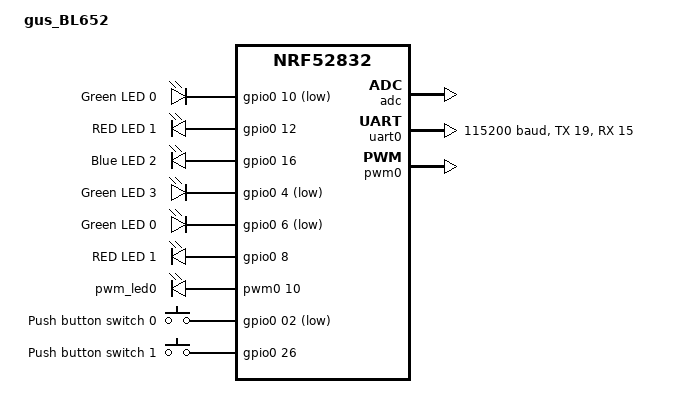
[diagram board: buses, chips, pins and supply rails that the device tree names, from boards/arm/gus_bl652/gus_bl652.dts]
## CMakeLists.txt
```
# SPDX-License-Identifier: Apache-2.0

cmake_minimum_required(VERSION 3.13.1)

find_package(Zephyr REQUIRED HINTS $ENV{ZEPHYR_BASE})
project(NONE)

FILE(GLOB app_sources src/*.c)
target_sources(app PRIVATE ${app_sources})
target_include_directories(app PRIVATE include)
```

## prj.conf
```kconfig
#
# Copyright (c) 2019 Nordic Semiconductor ASA
#
# SPDX-License-Identifier: LicenseRef-Nordic-5-Clause
#
CONFIG_NCS_SAMPLES_DEFAULTS=y

# General configuration
CONFIG_SYSTEM_WORKQUEUE_STACK_SIZE=2048
CONFIG_FLASH=y
CONFIG_FLASH_MAP=y
CONFIG_FCB=y
CONFIG_SETTINGS=y
CONFIG_HWINFO=y
CONFIG_LOG=y
CONFIG_LOG_PRINTK=y

CONFIG_DK_LIBRARY=y
CONFIG_BT_MESH_DK_PROV=y

# Bluetooth configuration
CONFIG_BT=y
CONFIG_BT_COMPANY_ID=0x0059
CONFIG_BT_DEVICE_NAME="GUS Badge"
CONFIG_BT_L2CAP_RX_MTU=69
CONFIG_BT_L2CAP_TX_MTU=69
CONFIG_BT_L2CAP_TX_BUF_COUNT=8
CONFIG_BT_LL_SW_SPLIT=y
CONFIG_BT_OBSERVER=y
CONFIG_BT_PERIPHERAL=y
CONFIG_BT_SETTINGS=y
CONFIG_BT_TINYCRYPT_ECC=y

# Disable unused Bluetooth features
CONFIG_BT_CTLR_DUP_FILTER_LEN=0
CONFIG_BT_CTLR_LE_ENC=n
CONFIG_BT_DATA_LEN_UPDATE=n
CONFIG_BT_PHY_UPDATE=n
CONFIG_BT_CTLR_CHAN_SEL_2=n
CONFIG_BT_CTLR_MIN_USED_CHAN=n
CONFIG_BT_CTLR_PRIVACY=n

# Bluetooth mesh configuration
CONFIG_BT_MESH=y
CONFIG_BT_MESH_RELAY=y
CONFIG_BT_MESH_FRIEND=y
CONFIG_BT_MESH_ADV_BUF_COUNT=13
CONFIG_BT_MESH_TX_SEG_MAX=10
CONFIG_BT_MESH_PB_GATT=y
CONFIG_BT_MESH_GATT_PROXY=y

# Bluetooth mesh models
CONFIG_BT_MESH_LVL_SRV=y
CONFIG_NFCT_PINS_AS_GPIOS=y

CONFIG_BT_CTLR_ADVANCED_FEATURES=y
CONFIG_BT_CTLR_CONN_RSSI=y
CONFIG_BT_CTLR_TX_PWR_DYNAMIC_CONTROL=y
```

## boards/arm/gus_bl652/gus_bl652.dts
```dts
/*
 * Copyright (c) 2019 Laird Connectivity
 *
 * SPDX-License-Identifier: Apache-2.0
 */

/dts-v1/;
#include <nordic/nrf52832_qfaa.dtsi>

/ {
	model = "gus_BL652";
	compatible = "laird,BL652DVK";

	chosen {
		zephyr,console = &uart0;
		zephyr,shell-uart = &uart0;
		zephyr,uart-mcumgr = &uart0;
		zephyr,bt-mon-uart = &uart0;
		zephyr,bt-c2h-uart = &uart0;
		zephyr,sram = &sram0;
		zephyr,flash = &flash0;
		zephyr,code-partition = &slot0_partition;
	};

	leds {
		compatible = "gpio-leds";
		
		led0: led_0 {
			gpios = <&gpio0 10 GPIO_ACTIVE_LOW>;
			label = "Green LED 0";
		};			   
		led1: led_1 {
			gpios = <&gpio0 12 GPIO_ACTIVE_HIGH>;
			label = "RED LED 1";
		};
		led2: led_2 {
			gpios = <&gpio0 16 GPIO_ACTIVE_HIGH>;
			label = "Blue LED 2";
		};
		led3: led_3 {
			gpios = <&gpio0 4 GPIO_ACTIVE_LOW>;
			label = "Green LED 3";
		};	
	
		led4: led_4 {
			gpios = <&gpio0 6 GPIO_ACTIVE_LOW>;
			label = "Green LED 0";
		};			   
		led5: led_5 {
			gpios = <&gpio0 8 GPIO_ACTIVE_HIGH>;
			label = "RED LED 1";
		};
	};

	pwmleds {
		compatible = "pwm-leds";
		pwm_led0: pwm_led_0 {
			pwms = <&pwm0 10>;
		};
	};

	buttons {
		compatible = "gpio-keys";
		button0: button_0 {
			gpios = <&gpio0 02 (GPIO_PULL_UP | GPIO_ACTIVE_LOW)>;
			label = "Push button switch 0";
		};
		button1: button_1 {
			gpios = <&gpio0 26 GPIO_PULL_UP>;
			label = "Push button switch 1";
		};
	};

	/* These aliases are provided for compatibility with samples */
	aliases {
		led0 = &led0;
		led1 = &led1;
		led2 = &led2;
		led3 = &led3;
		led4 = &led4;
		led5 = &led5;
		pwm-led0 = &pwm_led0;
		sw0 = &button0;
		sw1 = &button1;
	};
};

&adc {
	status = "okay";
};

&gpiote {
	status = "okay";
};

&gpio0 {
	status = "okay";
};

&uart0 {
	status = "okay";
	compatible = "nordic,nrf-uart";
	current-speed = <115200>;
	tx-pin = <19>;
	rx-pin = <15>;
	rts-pin = <28>;
	cts-pin = <30>;
};

&pwm0 {
	status = "okay";
	ch0-pin = <17>;
};


&flash0 {

	partitions {
		compatible = "fixed-partitions";
		#address-cells = <1>;
		#size-cells = <1>;

		boot_partition: partition@0 {
			label = "mcuboot";
			reg = <0x00000000 0xc000>;
		};
		slot0_partition: partition@c000 {
			label = "image-0";
			reg = <0x0000C000 0x32000>;
		};
		slot1_partition: partition@3e000 {
			label = "image-1";
			reg = <0x0003E000 0x32000>;
		};
		scratch_partition: partition@70000 {
			label = "image-scratch";
			reg = <0x00070000 0xa000>;
		};
		storage_partition: partition@7a000 {
			label = "storage";
			reg = <0x0007a000 0x00006000>;
		};
	};
};
```

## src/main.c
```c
/*
 * Copyright (c) 2019 Nordic Semiconductor ASA
 *
 * SPDX-License-Identifier: LicenseRef-Nordic-5-Clause
 */

/** @file
 *  @brief Nordic mesh light sample
 */
#include <bluetooth/bluetooth.h>
#include <bluetooth/mesh/models.h>
#include <bluetooth/mesh/dk_prov.h>
#include <dk_buttons_and_leds.h>
#include "gus_model_handler.h"
#include "tx_power.h"
#include "gus_leds.h"
#include <bluetooth/hci_vs.h>

static void bt_ready(int err)
{
    if (err)
    {
        printk("Bluetooth init failed (err %d)\n", err);
        return;
    }

    printk("Bluetooth initialized\n");

    gus_leds_init();
    dk_buttons_init(NULL);

    err = bt_mesh_init(bt_mesh_dk_prov_init(), gus_model_handler_init());
    if (err)
    {
        printk("Initializing mesh failed (err %d)\n", err);
        return;
    }

    if (IS_ENABLED(CONFIG_SETTINGS))
    {

        settings_load();
    }

    /* This will be a no-op if settings_load() loaded provisioning info */
    bt_mesh_prov_enable(BT_MESH_PROV_ADV | BT_MESH_PROV_GATT);

    printk("Mesh initialized\n");
}

void main(void)
{
    int err;

    printk("Initializing....\n");

    err = bt_enable(bt_ready);
    if (err)
    {
        printk("Bluetooth init failed (err %d)\n", err);
    }

    while (1)
    {
        // manage blinking of LEDs in idle loop
        k_sleep(K_MSEC(100));
        if (get_blinker() >= 0)
        {
            uint16_t ledbit = dec_blinker() % 6;
            gus_set_leds(0x01 << ledbit);
        }
    }
}
```

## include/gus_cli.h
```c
/*
 * Copyright (c) 2020 Nordic Semiconductor ASA
 *
 * SPDX-License-Identifier: LicenseRef-Nordic-5-Clause
 */

/**
 * @file
 * @defgroup bt_mesh_gus_cli
 * @{
 * @brief API for the Bluetooth Mesh Gus Client model.
 */

#ifndef BT_MESH_GUS_CLI_H__
#define BT_MESH_GUS_CLI_H__

#include <bluetooth/mesh.h>
#include <bluetooth/mesh/model_types.h>

#ifdef __cplusplus
extern "C" {
#endif

#define CONFIG_BT_MESH_GUS_NAME_LENGTH 16

/* .. include_startingpoint_gus_cli_rst_1 */
/** Company ID of the Bluetooth Mesh Gus Client model. */
#define BT_MESH_GUS_CLI_VENDOR_COMPANY_ID    0xFFFF  // not a real company

/** Model ID of the Bluetooth Mesh Gus Client model. */
#define BT_MESH_GUS_CLI_VENDOR_MODEL_ID      0x0042 // answer to life, universe & everything

/** Sign in opcode. */
#define BT_MESH_GUS_CLI_OP_SIGN_IN BT_MESH_MODEL_OP_3(0x04, \
				       BT_MESH_GUS_CLI_VENDOR_COMPANY_ID)

/** Sign in reply opcode. */
#define BT_MESH_GUS_CLI_OP_SIGN_IN_REPLY BT_MESH_MODEL_OP_3(0x05, \
				       BT_MESH_GUS_CLI_VENDOR_COMPANY_ID)

/** Set State opcode. */
#define BT_MESH_GUS_CLI_OP_SET_STATE BT_MESH_MODEL_OP_3(0x06, \
				       BT_MESH_GUS_CLI_VENDOR_COMPANY_ID)

/** Set name opcode. */
#define BT_MESH_GUS_CLI_OP_SET_NAME BT_MESH_MODEL_OP_3(0x07, \
				       BT_MESH_GUS_CLI_VENDOR_COMPANY_ID)

/**  Report opcode. */
#define BT_MESH_GUS_CLI_OP_REPORT BT_MESH_MODEL_OP_3(0x08, \
				       BT_MESH_GUS_CLI_VENDOR_COMPANY_ID)

/** Report reply opcode. */
#define BT_MESH_GUS_CLI_OP_REPORT_REPLY BT_MESH_MODEL_OP_3(0x09, \
				       BT_MESH_GUS_CLI_VENDOR_COMPANY_ID)

/** Check proximity opcode. */
#define BT_MESH_GUS_CLI_OP_CHECK_PROXIMITY BT_MESH_MODEL_OP_3(0x0A, \
				       BT_MESH_GUS_CLI_VENDOR_COMPANY_ID)

#define NUM_PROXIMITY_REPORTS 6
struct gus_report_data {
    uint16_t addr;
    int8_t rssi;
    }; 


#define BT_MESH_GUS_CLI_MSG_MINLEN_MESSAGE 1
#define BT_MESH_GUS_CLI_MSG_MAXLEN_MESSAGE (\
				     CONFIG_BT_MESH_GUS_NAME_LENGTH \
				     + 1) /* + \0 */
#define BT_MESH_GUS_CLI_MSG_LEN_SIGN_IN_REPLY (CONFIG_BT_MESH_GUS_NAME_LENGTH+1)
#define BT_MESH_GUS_CLI_MSG_LEN_SET_STATE 1
#define BT_MESH_GUS_CLI_MSG_LEN_REPORT_REPLY (NUM_PROXIMITY_REPORTS*sizeof(struct gus_report_data)+1)
#define BT_MESH_GUS_CLI_MSG_LEN_REQUEST 0


/** Bluetooth Mesh Gus Client state values. */
enum bt_mesh_gus_cli_state {
	BT_MESH_GUS_CLI_IDENTIFY,
	BT_MESH_GUS_CLI_HEALTHY,
	BT_MESH_GUS_CLI_INFECTED,
	BT_MESH_GUS_CLI_MASKED,
	BT_MESH_GUS_CLI_MASKED_INFECTED,
	BT_MESH_GUS_CLI_VACCINATED,
	BT_MESH_GUS_CLI_VACCINATED_INFECTED,
	BT_MESH_GUS_CLI_VACCINATED_MASKED,
	BT_MESH_GUS_CLI_VACCINATED_MASKED_INFECTED,	
        BT_MESH_GUS_CLI_OFF,
};

/* Forward declaration of the Bluetooth Mesh Gus Client model context. */
struct bt_mesh_gus_cli;

/* .. include_startingpoint_gus_cli_rst_2 */
/** @def BT_MESH_MODEL_GUS_CLI
 *
 * @brief Bluetooth Mesh Gus Client model composition data entry.
 *
 * @param[in] _gus Pointer to a @ref bt_mesh_gus_cli instance.
 */
#define BT_MESH_MODEL_GUS_CLI(_gus)                               \
		BT_MESH_MODEL_VND_CB(BT_MESH_GUS_CLI_VENDOR_COMPANY_ID,   \
			BT_MESH_GUS_CLI_VENDOR_MODEL_ID,                      \
			_bt_mesh_gus_cli_op, &(_gus)->pub,                    \
			BT_MESH_MODEL_USER_DATA(struct bt_mesh_gus_cli,       \
						_gus),                        \
			&_bt_mesh_gus_cli_cb)
/* .. include_endpoint_gus_cli_rst_2 */

/** Bluetooth Mesh Gus Client model handlers. */
struct bt_mesh_gus_cli_handlers {
	/** @brief Called after the node has been provisioned, or after all
	 * mesh data has been loaded from persistent storage.
	 *
	 * @param[in] cli Gus Client instance that has been started.
	 */
	void (*const start)(struct bt_mesh_gus_cli *gus);

	/** @brief Handler for a sign in message.
	 *
	 * @param[in] cli Gus client instance that received the text message.
	 * @param[in] ctx Context of the incoming message.
	 * @param[in] addr address of sender.
	 */
	void (*const sign_in)(struct bt_mesh_gus_cli *gus,
			       struct bt_mesh_msg_ctx *ctx,
                               uint16_t addr);

	/** @brief Handler for a sign in reply.
	 *
	 * @param[in] cli Gus client instance that received the reply.
	 * @param[in] ctx Context of the incoming message.
	 * @param[in] msg Pointer to a name terminated with
	 * a null character, '\0'.
	 */
	void (*const sign_in_reply)(struct bt_mesh_gus_cli *gus,
				    struct bt_mesh_msg_ctx *ctx,
				      const uint8_t *msg);

	/** @brief Handler for a set state message.
	 *
	 * @param[in] cli gus client instance that received the text message.
	 * @param[in] ctx Context of the incoming message.
	 * @param[in] state of a Gus Client
	 * the message.
	 */
	void (*const set_state)(struct bt_mesh_gus_cli *gus,
			       struct bt_mesh_msg_ctx *ctx,
			       enum bt_mesh_gus_cli_state state);

	/** @brief Handler for a set name message.
	 *
	 * @param[in] cli Gus client that received the text message.
	 * @param[in] ctx Context of the incoming message.
	 * @param[in] msg Pointer to a received name terminated with
	 * a null character, '\0'.
	 */
	void (*const set_name)(struct bt_mesh_gus_cli *gus,
				      struct bt_mesh_msg_ctx *ctx,
				      const uint8_t *msg);

	/** @brief Handler for a report request.
	 *
	 * @param[in] cli Gus client instance that received the text message.
	 * @param[in] ctx Context of the incoming message.
	 */
	void (*const report_request)(struct bt_mesh_gus_cli *gus,
			       struct bt_mesh_msg_ctx *ctx);

	/** @brief Handler for a reply on a report request.
	 *
	 * @param[in] cli Gus client instance that received the reply.
	 * @param[in] ctx Context of the incoming message.
	 * @param[in] msg Pointer to a proximity report structure
	 * a null character, '\0'.	 */
	void (*const report_reply)(struct bt_mesh_gus_cli *gus,
				    struct bt_mesh_msg_ctx *ctx,
				      const uint8_t *msg);

	/** @brief Handler for a check proximity message.
	 *
	 * @param[in] cli Gus client instance that received the text message.
	 * @param[in] ctx Context of the incoming message.
	 * @param[in] addr address of sender.
	 */
	void (*const check_proximity)(struct bt_mesh_gus_cli *gus,
			       struct bt_mesh_msg_ctx *ctx,
                               uint16_t addr);


};


/**
 * Bluetooth Mesh Gus Client model context.
 */
struct bt_mesh_gus_cli {
	/** Access model pointer. */
	struct bt_mesh_model *model;
	/** Publish parameters. */
	struct bt_mesh_model_pub pub;
	/** Publication message. */
	struct net_buf_simple pub_msg;
	/** badge name. */
	uint8_t buf[BT_MESH_MODEL_BUF_LEN(BT_MESH_GUS_CLI_OP_SET_NAME,
					  BT_MESH_GUS_CLI_MSG_MAXLEN_MESSAGE)];
        uint8_t name[CONFIG_BT_MESH_GUS_NAME_LENGTH+1];
	/** Handler function structure. */
	const struct bt_mesh_gus_cli_handlers *handlers;
	/** Current Presence value. */
	enum bt_mesh_gus_cli_state state;
};






/** @brief Publish the sign in request to the mesh network.
 *
 * @param[in] gus     Gus Client model instance to sign into.
 *
 * @retval 0 Successfully set the preceive and sent the message.
 * @retval -EADDRNOTAVAIL Publishing is not configured.
 * @retval -EAGAIN The device has not been provisioned.
 */
int bt_mesh_gus_cli_sign_in(struct bt_mesh_gus_cli *gus);

/** @brief Send a reply for the sign in request to the mesh network.
 *
 * @param[in] gus     Gus Client model instance to sign into.
 * @param[in] name Pointer to a name. Must be terminated with
 * a null character, '\0'.
 *
 * @retval 0 Successfully set the preceive and sent the message.
 * @retval -EADDRNOTAVAIL Publishing is not configured.
 * @retval -EAGAIN The device has not been provisioned.
 */
int bt_mesh_gus_cli_sign_in_reply(struct bt_mesh_gus_cli *gus, 
                                    struct bt_mesh_msg_ctx *ctx, 
                                    const uint8_t * name);
/** @brief Set the client state.
 *
 * @param[in] gus     Gus Client model instance to set presence on.
 * @param[in] addr    Address of the gus client to set the state of.
 * @param[in] state   New client state.
 *
 * @retval 0 Successfully set the preceive and sent the message.
 * @retval -EADDRNOTAVAIL Publishing is not configured.
 * @retval -EAGAIN The device has not been provisioned.
 */
int bt_mesh_gus_cli_state_set(struct bt_mesh_gus_cli *gus,
				  uint16_t addr,
				  enum bt_mesh_gus_cli_state state);

/** @brief Set the client name.
 *
 * @param[in] cli Gus Client model instance.
 * @param[in] addr    Address of the gus client to set the state of.
 * @param[in] name Pointer to a name. Must be terminated with
 * a null character, '\0'.
 *
 * @retval 0 Successfully sent the message.
 * @retval -EADDRNOTAVAIL Publishing is not configured.
 * @retval -EAGAIN The device has not been provisioned.
 */
int bt_mesh_gus_cli_name_set(struct bt_mesh_gus_cli *gus,
				  uint16_t addr,
				  const uint8_t *name);

/** @brief Request a proximity report.
 *
 * @param[in] gus     Gus Client model instance to sign into.
 * @param[in] addr    Address of the gus client.
 *
 * @retval 0 Successfully set the preceive and sent the message.
 * @retval -EADDRNOTAVAIL Publishing is not configured.
 * @retval -EAGAIN The device has not been provisioned.
 */
int bt_mesh_gus_cli_report_request(struct bt_mesh_gus_cli *gus,
				  uint16_t addr);

/** @brief Proximity report reply.
 *
 * @param[in] gus     Gus Client model instance to sign into.
 * @param[in] report Pointer array of bytes containing report
 *
 * @retval 0 Successfully set the preceive and sent the message.
 * @retval -EADDRNOTAVAIL Publishing is not configured.
 * @retval -EAGAIN The device has not been provisioned.
 */
int bt_mesh_gus_cli_report_reply(struct bt_mesh_gus_cli *gus,
				  struct bt_mesh_msg_ctx *ctx, 
				  const uint8_t *report);

/** @brief Check Proximity.
 *
 * @param[in] gus     Gus Client model instance to sign into.
 *
 * @retval 0 Successfully set the preceive and sent the message.
 * @retval -EADDRNOTAVAIL Publishing is not configured.
 * @retval -EAGAIN The device has not been provisioned.
 */
int bt_mesh_gus_cli_check_proximity(struct bt_mesh_gus_cli *gus);

/** @cond INTERNAL_HIDDEN */
extern const struct bt_mesh_model_op _bt_mesh_gus_cli_op[];
extern const struct bt_mesh_model_cb _bt_mesh_gus_cli_cb;
/** @endcond */

#ifdef __cplusplus
}
#endif

#endif /* BT_MESH_GUS_CLI_H__ */

/** @} */
```

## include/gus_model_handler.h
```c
/*
 * Copyright (c) 2019 Nordic Semiconductor ASA
 *
 * SPDX-License-Identifier: LicenseRef-Nordic-5-Clause
 */

/**
 * @file
 * @brief Gus Model handler
 */

#ifndef GUS_MODEL_HANDLER_H__
#define GUS_MODEL_HANDLER_H__

#include <bluetooth/mesh.h>

#ifdef __cplusplus
extern "C" {
#endif

const struct bt_mesh_comp *gus_model_handler_init(void);
int get_blinker(void);
int dec_blinker(void);

#ifdef __cplusplus
}
#endif

#endif /* GUS_MODEL_HANDLER_H__ */
```

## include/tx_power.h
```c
/*
 * Copyright (c) 2019 Nordic Semiconductor ASA
 *
 * SPDX-License-Identifier: LicenseRef-Nordic-5-Clause
 */

/**
 * @file
 * @brief Gus Model handler
 */

#ifndef TX_POWER_H__
#define TX_POWER_H__

#ifdef __cplusplus
extern "C" {
#endif

void set_tx_power(uint8_t handle_type, uint16_t handle, int8_t tx_pwr_lvl);

#ifdef __cplusplus
}
#endif

#endif /* GUS_MODEL_HANDLER_H__ */
```

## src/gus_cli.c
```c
/*
 * Copyright (c) 2019 Nordic Semiconductor ASA
 *
 * SPDX-License-Identifier: LicenseRef-Nordic-5-Clause
 */

#include <bluetooth/mesh.h>
#include "gus_cli.h"
#include "mesh/net.h"
#include "mesh/transport.h"
#include <string.h>
#include <logging/log.h>
#include <drivers/gpio.h>

LOG_MODULE_DECLARE(gus);

BUILD_ASSERT(BT_MESH_MODEL_BUF_LEN(BT_MESH_GUS_CLI_OP_SET_NAME,
				   CONFIG_BT_MESH_GUS_NAME_LENGTH) <=
		    BT_MESH_RX_SDU_MAX,
	     "The message must fit inside an application SDU.");
BUILD_ASSERT(BT_MESH_MODEL_BUF_LEN(BT_MESH_GUS_CLI_OP_SET_NAME,
				   CONFIG_BT_MESH_GUS_NAME_LENGTH) <=
		    BT_MESH_TX_SDU_MAX,
	     "The message must fit inside an application SDU.");
BUILD_ASSERT(BT_MESH_MODEL_BUF_LEN(BT_MESH_GUS_CLI_OP_REPORT_REPLY,
				   BT_MESH_GUS_CLI_MSG_LEN_REPORT_REPLY) <=
		    BT_MESH_RX_SDU_MAX,
	     "The report reply message must fit inside an application SDU.");
BUILD_ASSERT(BT_MESH_MODEL_BUF_LEN(BT_MESH_GUS_CLI_OP_REPORT_REPLY,
				   BT_MESH_GUS_CLI_MSG_LEN_REPORT_REPLY) <=
		    BT_MESH_TX_SDU_MAX,
	     "The report reply message must fit inside an application SDU.");


static const uint8_t *extract_name(struct net_buf_simple *buf)
{
	buf->data[buf->len - 1] = '\0';
	return net_buf_simple_pull_mem(buf, buf->len);
}


////////////////////
// message handlers
///////////////////

static void handle_sign_in(struct bt_mesh_model *model,
				 struct bt_mesh_msg_ctx *ctx,
				 struct net_buf_simple *buf)
{

	struct bt_mesh_gus_cli *gus = model->user_data;

        uint16_t addr = bt_mesh_model_elem(model)->addr;
	if (gus->handlers->sign_in) {
		gus->handlers->sign_in(gus, ctx, addr);
	}
}

static void handle_sign_in_reply(struct bt_mesh_model *model,
			   struct bt_mesh_msg_ctx *ctx,
			   struct net_buf_simple *buf)
{
	struct bt_mesh_gus_cli *gus = model->user_data;
	const uint8_t *name;

	name = extract_name(buf);

	if (gus->handlers->sign_in_reply) {
		gus->handlers->sign_in_reply(gus, ctx, name);
	}
}


static void handle_set_state(struct bt_mesh_model *model,
			    struct bt_mesh_msg_ctx *ctx,
			    struct net_buf_simple *buf)
{
    struct bt_mesh_gus_cli *gus = model->user_data;
    enum bt_mesh_gus_cli_state state;

    state = net_buf_simple_pull_u8(buf);

    if (gus->handlers->set_state) {
            gus->handlers->set_state(gus, ctx, state);
    }
}


static void handle_set_name(struct bt_mesh_model *model,
				  struct bt_mesh_msg_ctx *ctx,
				  struct net_buf_simple *buf)
{
	struct bt_mesh_gus_cli *gus = model->user_data;
	const uint8_t *msg;

	msg = extract_name(buf);

        strncpy(gus->name, msg, CONFIG_BT_MESH_GUS_NAME_LENGTH);
	if (gus->handlers->set_name) {
		gus->handlers->set_name(gus, ctx, msg);
	}
}


static void handle_report_request(struct bt_mesh_model *model,
				 struct bt_mesh_msg_ctx *ctx,
				 struct net_buf_simple *buf)
{
	struct bt_mesh_gus_cli *gus = model->user_data;

	if (gus->handlers->report_request) {
		gus->handlers->report_request(gus, ctx);
	}
}


static void handle_report_reply(struct bt_mesh_model *model,
				  struct bt_mesh_msg_ctx *ctx,
				  struct net_buf_simple *buf)
{
	struct bt_mesh_gus_cli *gus = model->user_data;
	const uint8_t *msg;

	msg = extract_name(buf);  //todo extract report

	if (gus->handlers->report_reply) {
		gus->handlers->report_reply(gus, ctx, msg);
	}
}


static void handle_check_proximity(struct bt_mesh_model *model,
				 struct bt_mesh_msg_ctx *ctx,
				 struct net_buf_simple *buf)
{
	struct bt_mesh_gus_cli *gus = model->user_data;
    uint16_t addr = bt_mesh_model_elem(model)->addr;

	if (gus->handlers->check_proximity) {
		gus->handlers->check_proximity(gus, ctx, addr);
	}
}

////////////////////
// message handler table
///////////////////


const struct bt_mesh_model_op _bt_mesh_gus_cli_op[] = {
	{
		BT_MESH_GUS_CLI_OP_SIGN_IN,
		BT_MESH_GUS_CLI_MSG_LEN_REQUEST,
		handle_sign_in
	},
	{
		BT_MESH_GUS_CLI_OP_SIGN_IN_REPLY,
		BT_MESH_GUS_CLI_MSG_MINLEN_MESSAGE,
		handle_sign_in_reply
	},
	{
		BT_MESH_GUS_CLI_OP_SET_STATE,
		BT_MESH_GUS_CLI_MSG_MINLEN_MESSAGE,
		handle_set_state
	},
	{
		BT_MESH_GUS_CLI_OP_SET_NAME,
		BT_MESH_GUS_CLI_MSG_MINLEN_MESSAGE,
		handle_set_name
	},
	{
		BT_MESH_GUS_CLI_OP_REPORT,
		BT_MESH_GUS_CLI_MSG_LEN_REQUEST,
		handle_report_request
	},
	{
		BT_MESH_GUS_CLI_OP_REPORT_REPLY,
		BT_MESH_GUS_CLI_MSG_MINLEN_MESSAGE,
		handle_report_reply
	},
	{
		BT_MESH_GUS_CLI_OP_CHECK_PROXIMITY,
		BT_MESH_GUS_CLI_MSG_LEN_REQUEST,
		handle_check_proximity
	},

	BT_MESH_MODEL_OP_END,
};





//todo hopefully not needed

// static int bt_mesh_chat_cli_update_handler(struct bt_mesh_model *model)
// {
	// struct bt_mesh_chat_cli *chat = model->user_data;

	// /* Continue publishing current presence. */
	// encode_presence(model->pub->msg, chat->presence);

	// return 0;
// }


#ifdef CONFIG_BT_SETTINGS
static int bt_mesh_gus_cli_settings_set(struct bt_mesh_model *model,
					 const char *name,
					 size_t len_rd,
					 settings_read_cb read_cb,
					 void *cb_arg)
{
	struct bt_mesh_gus_cli *gus = model->user_data;

	if (name) {
		return -ENOENT;
	}

	ssize_t bytes = read_cb(cb_arg, &gus->state,
				sizeof(gus->state));
	if (bytes < 0) {
		return bytes;
	}

	if (bytes != 0 && bytes != sizeof(gus->state)) {
		return -EINVAL;
	}

	return 0;
}
#endif



static int bt_mesh_gus_cli_init(struct bt_mesh_model *model)
{
	struct bt_mesh_gus_cli *gus = model->user_data;

	gus->model = model;

        net_buf_simple_init_with_data(&gus->pub_msg, gus->buf,
				      sizeof(gus->buf));

	gus->pub.msg = &gus->pub_msg;
	gus->pub.update = NULL; //bt_mesh_gus_cli_update_handler;

	return 0;
}


static int bt_mesh_gus_cli_start(struct bt_mesh_model *model)
{
	struct bt_mesh_gus_cli *gus = model->user_data;

	if (gus->handlers->start) {
		gus->handlers->start(gus);
	}

	return 0;
}


static void bt_mesh_gus_cli_reset(struct bt_mesh_model *model)
{
	struct bt_mesh_gus_cli *gus = model->user_data;

	gus->state = BT_MESH_GUS_CLI_HEALTHY;

	if (IS_ENABLED(CONFIG_BT_SETTINGS)) {
		(void) bt_mesh_model_data_store(model, true, NULL, NULL, 0);
	}
}



const struct bt_mesh_model_cb _bt_mesh_gus_cli_cb = {
	.init = bt_mesh_gus_cli_init,
	.start = bt_mesh_gus_cli_start,
#ifdef CONFIG_BT_SETTINGS
	.settings_set = bt_mesh_gus_cli_settings_set,
#endif
	.reset = bt_mesh_gus_cli_reset,
};


/////////////////////////////
// public access functions
/////////////////////////////

int bt_mesh_gus_cli_sign_in(struct bt_mesh_gus_cli *gus)
{
	struct net_buf_simple *buf = gus->model->pub->msg;
	bt_mesh_model_msg_init(buf, BT_MESH_GUS_CLI_OP_SIGN_IN);
	return bt_mesh_model_publish(gus->model);	
}

int bt_mesh_gus_cli_sign_in_reply(struct bt_mesh_gus_cli *gus, 
                                    struct bt_mesh_msg_ctx *ctx, 
                                    const uint8_t * name)
{
	BT_MESH_MODEL_BUF_DEFINE(msg, BT_MESH_GUS_CLI_OP_SIGN_IN_REPLY,
				 BT_MESH_GUS_CLI_MSG_LEN_SIGN_IN_REPLY);
	bt_mesh_model_msg_init(&msg, BT_MESH_GUS_CLI_OP_SIGN_IN_REPLY);

        size_t len = strlen(name);
        net_buf_simple_add_mem(&msg, name, len);
       	net_buf_simple_add_u8(&msg, '\0');

	return bt_mesh_model_send(gus->model, ctx, &msg, NULL, NULL);
}

int bt_mesh_gus_cli_state_set(struct bt_mesh_gus_cli *gus,
				  uint16_t addr,
				  enum bt_mesh_gus_cli_state state)
{				  
	struct bt_mesh_msg_ctx ctx = {
		.addr = addr,
		.app_idx = gus->model->keys[0],
		.send_ttl = BT_MESH_TTL_DEFAULT,
		.send_rel = false,  //todo if true, causes No matching TX context warning
	};

	BT_MESH_MODEL_BUF_DEFINE(buf, BT_MESH_GUS_CLI_OP_SET_STATE,
				 BT_MESH_GUS_CLI_MSG_LEN_SET_STATE);
	bt_mesh_model_msg_init(&buf, BT_MESH_GUS_CLI_OP_SET_STATE);
	net_buf_simple_add_u8(&buf, state);

	return bt_mesh_model_send(gus->model, &ctx, &buf, NULL, NULL);
}

int bt_mesh_gus_cli_name_set(struct bt_mesh_gus_cli *gus,
				  uint16_t addr,
				  const uint8_t *name)
{
	struct bt_mesh_msg_ctx ctx = {
		.addr = addr,
		.app_idx = gus->model->keys[0],
		.send_ttl = BT_MESH_TTL_DEFAULT,
		.send_rel = false,  //todo
	};

	BT_MESH_MODEL_BUF_DEFINE(buf, BT_MESH_GUS_CLI_OP_SET_NAME,
				 CONFIG_BT_MESH_GUS_NAME_LENGTH);
	bt_mesh_model_msg_init(&buf, BT_MESH_GUS_CLI_OP_SET_NAME);

	net_buf_simple_add_mem(&buf, name, strlen(name));
			       //strnlen(name,
				      // CONFIG_BT_MESH_GUS_CLI_MESSAGE_LENGTH));
	net_buf_simple_add_u8(&buf, '\0');

	return bt_mesh_model_send(gus->model, &ctx, &buf, NULL, NULL);  
}


int bt_mesh_gus_cli_report_request(struct bt_mesh_gus_cli *gus,
				  uint16_t addr)
{
	struct bt_mesh_msg_ctx ctx = {
		.addr = addr,
		.app_idx = gus->model->keys[0],
		.send_ttl = BT_MESH_TTL_DEFAULT,
		.send_rel = false,  //todo
	};

	BT_MESH_MODEL_BUF_DEFINE(buf, BT_MESH_GUS_CLI_OP_REPORT,
				 BT_MESH_GUS_CLI_MSG_LEN_REQUEST);
	bt_mesh_model_msg_init(&buf, BT_MESH_GUS_CLI_OP_REPORT);

	return bt_mesh_model_send(gus->model, &ctx, &buf, NULL, NULL);	
}

int bt_mesh_gus_cli_report_reply(struct bt_mesh_gus_cli *gus,
				  struct bt_mesh_msg_ctx *ctx, 
                                  const uint8_t *report)
{
    BT_MESH_MODEL_BUF_DEFINE(msg, BT_MESH_GUS_CLI_OP_REPORT_REPLY,
                             BT_MESH_GUS_CLI_MSG_LEN_REPORT_REPLY);
    bt_mesh_model_msg_init(&msg, BT_MESH_GUS_CLI_OP_REPORT_REPLY);

    net_buf_simple_add_mem(&msg, report, BT_MESH_GUS_CLI_MSG_LEN_REPORT_REPLY);

    return bt_mesh_model_send(gus->model, ctx, &msg, NULL, NULL);
}


int bt_mesh_gus_cli_check_proximity(struct bt_mesh_gus_cli *gus)
{
//todo	set_tx_power(BT_HCI_VS_LL_HANDLE_TYPE_ADV, 0, -8);

	struct net_buf_simple *buf = gus->model->pub->msg;
	bt_mesh_model_msg_init(buf, BT_MESH_GUS_CLI_OP_CHECK_PROXIMITY);
        gus->model->pub->ttl = 0;
        gus->model->pub->send_rel = false;
	return bt_mesh_model_publish(gus->model);	
}
```

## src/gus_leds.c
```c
/*
 * Copyright (c) 2018 Nordic Semiconductor ASA
 *
 * SPDX-License-Identifier: LicenseRef-Nordic-5-Clause
 */

#include <zephyr.h>
#include <soc.h>
#include <device.h>
#include <drivers/gpio.h>
#include <sys/util.h>
#include <logging/log.h>
#include <nrfx.h>
#include "gus_leds.h"

LOG_MODULE_REGISTER(gus_leds, CONFIG_DK_LIBRARY_LOG_LEVEL);


struct gpio_pin {
	const char * const port;
	const uint8_t number;
};


static const struct gpio_pin led_pins[] = {
#if DT_NODE_EXISTS(DT_ALIAS(led0))
	{DT_GPIO_LABEL(DT_ALIAS(led0), gpios),
	 DT_GPIO_PIN(DT_ALIAS(led0), gpios)},
#endif
#if DT_NODE_EXISTS(DT_ALIAS(led1))
	{DT_GPIO_LABEL(DT_ALIAS(led1), gpios),
	 DT_GPIO_PIN(DT_ALIAS(led1), gpios)},
#endif
#if DT_NODE_EXISTS(DT_ALIAS(led2))
	{DT_GPIO_LABEL(DT_ALIAS(led2), gpios),
	 DT_GPIO_PIN(DT_ALIAS(led2), gpios)},
#endif
#if DT_NODE_EXISTS(DT_ALIAS(led3))
	{DT_GPIO_LABEL(DT_ALIAS(led3), gpios),
	 DT_GPIO_PIN(DT_ALIAS(led3), gpios)},
#endif
#if DT_NODE_EXISTS(DT_ALIAS(led4))
	{DT_GPIO_LABEL(DT_ALIAS(led4), gpios),
	 DT_GPIO_PIN(DT_ALIAS(led4), gpios)},
#endif
#if DT_NODE_EXISTS(DT_ALIAS(led5))
	{DT_GPIO_LABEL(DT_ALIAS(led5), gpios),
	 DT_GPIO_PIN(DT_ALIAS(led5), gpios)},
#endif
};

enum state {
	STATE_WAITING,
	STATE_SCANNING,
};


static const struct device *led_devs[ARRAY_SIZE(led_pins)];





int gus_leds_init(void)
{
	int err;

	for (size_t i = 0; i < ARRAY_SIZE(led_pins); i++) {
		led_devs[i] = device_get_binding(led_pins[i].port);
		if (!led_devs[i]) {
			LOG_ERR("Cannot bind gpio device");
			return -ENODEV;
		}

		err = gpio_pin_configure(led_devs[i], led_pins[i].number,
					 GPIO_OUTPUT);
		if (err) {
			LOG_ERR("Cannot configure LED gpio");
			return err;
		}
	}

	return gus_set_leds_state(DK_NO_LEDS_MSK, DK_ALL_LEDS_MSK);
}

int gus_set_leds(uint32_t leds)
{
	return gus_set_leds_state(leds, DK_ALL_LEDS_MSK);
}

int gus_set_leds_state(uint32_t leds_on_mask, uint32_t leds_off_mask)
{
	if ((leds_on_mask & ~DK_ALL_LEDS_MSK) != 0 ||
	   (leds_off_mask & ~DK_ALL_LEDS_MSK) != 0) {
		return -EINVAL;
	}

	for (size_t i = 0; i < ARRAY_SIZE(led_pins); i++) {
		if ((BIT(i) & leds_on_mask) || (BIT(i) & leds_off_mask)) {
			uint32_t val = (BIT(i) & leds_on_mask) ? (1) : (0);

			if (IS_ENABLED(CONFIG_DK_LIBRARY_INVERT_LEDS)) {
				val = 1 - val;
			}

			int err = gpio_pin_set_raw(led_devs[i],
						   led_pins[i].number, val);
			if (err) {
				LOG_ERR("Cannot write LED gpio");
				return err;
			}
		}
	}

	return 0;
}

int gus_set_led(uint8_t led_idx, uint32_t val)
{
	int err;

	if (led_idx > ARRAY_SIZE(led_pins)) {
		LOG_ERR("LED index out of the range");
		return -EINVAL;
	}
	err = gpio_pin_set_raw(led_devs[led_idx], led_pins[led_idx].number,
		IS_ENABLED(CONFIG_DK_LIBRARY_INVERT_LEDS) ? !val : val);
	if (err) {
		LOG_ERR("Cannot write LED gpio");
	}
	return err;
}

int gus_set_led_on(uint8_t led_idx)
{
	return gus_set_led(led_idx, 1);
}

int gus_set_led_off(uint8_t led_idx)
{
	return gus_set_led(led_idx, 0);
}
```

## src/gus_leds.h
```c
/*
 * Copyright (c) 2018 Nordic Semiconductor ASA
 *
 * SPDX-License-Identifier: LicenseRef-Nordic-5-Clause
 */

#ifndef GUS_LEDS_H__
#define GUS_LEDS_H__

///////////////////////////////////////////////////////////////////////////////
// GUS LEDs is a hacked up version of the Nordic LED driver dk_buttons_and_leds
// with all of the button code removed and the LEDs extended to support
// six LEDs.
///////////////////////////////////////////////////////////////////////////////

#include <zephyr/types.h>
#include <sys/slist.h>

#ifdef __cplusplus
extern "C" {
#endif

#define DK_NO_LEDS_MSK    (0)
#define DK_LED1           0
#define DK_LED2           1
#define DK_LED3           2
#define DK_LED4           3
#define DK_LED5           4
#define DK_LED6           5
#define DK_LED1_MSK       BIT(DK_LED1)
#define DK_LED2_MSK       BIT(DK_LED2)
#define DK_LED3_MSK       BIT(DK_LED3)
#define DK_LED4_MSK       BIT(DK_LED4)
#define DK_LED5_MSK       BIT(DK_LED5)
#define DK_LED6_MSK       BIT(DK_LED6)
#define DK_ALL_LEDS_MSK   (DK_LED1_MSK | DK_LED2_MSK |\
			   DK_LED3_MSK | DK_LED4_MSK |\
                           DK_LED5_MSK | DK_LED6_MSK)


/** @brief Initialize the library to control the LEDs.
 *
 *  @retval 0           If the operation was successful.
 *                      Otherwise, a (negative) error code is returned.
 */
int gus_leds_init(void);


/** @brief Set value of LED pins as specified in one bitmask.
 *
 *  @param  leds Bitmask that defines which LEDs to turn on and off.
 *
 *  @retval 0           If the operation was successful.
 *                      Otherwise, a (negative) error code is returned.
 */
int gus_set_leds(uint32_t leds);


/** @brief Set value of LED pins as specified in two bitmasks.
 *
 *  @param  leds_on_mask  Bitmask that defines which LEDs to turn on.
 *                        If this bitmask overlaps with @p leds_off_mask,
 *                        @p leds_on_mask has priority.
 *
 *  @param  leds_off_mask Bitmask that defines which LEDs to turn off.
 *                        If this bitmask overlaps with @p leds_on_mask,
 *                        @p leds_on_mask has priority.
 *
 *  @retval 0           If the operation was successful.
 *                      Otherwise, a (negative) error code is returned.
 */
int gus_set_leds_state(uint32_t leds_on_mask, uint32_t leds_off_mask);

/** @brief Set a single LED value.
 *
 *  This function turns a single LED on or off.
 *
 *  @param led_idx Index of the LED.
 *  @param val     Value for the LED: 1 - turn on, 0 - turn off
 *
 *  @retval 0           If the operation was successful.
 *                      Otherwise, a (negative) error code is returned.
 *
 *  @sa dk_set_led_on, dk_set_led_off
 */
int gus_set_led(uint8_t led_idx, uint32_t val);

/** @brief Turn a single LED on.
 *
 *  @param led_idx Index of the LED.
 *
 *  @retval 0           If the operation was successful.
 *                      Otherwise, a (negative) error code is returned.
 */
int gus_set_led_on(uint8_t led_idx);

/** @brief Turn a single LED off.
 *
 *  @param led_idx Index of the LED.
 *
 *  @retval 0           If the operation was successful.
 *                      Otherwise, a (negative) error code is returned.
 */
int gus_set_led_off(uint8_t led_idx);

#ifdef __cplusplus
}
#endif

/** @} */

#endif /* GUS_LEDS_H__ */
```

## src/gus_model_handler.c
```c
/*
 * Copyright (c) 2019 Nordic Semiconductor ASA
 *
 * SPDX-License-Identifier: LicenseRef-Nordic-5-Clause
 */

#include <bluetooth/bluetooth.h>
#include <bluetooth/mesh/models.h>
#include <dk_buttons_and_leds.h>
#include "gus_leds.h"
#include "gus_model_handler.h"
#include "gus_svr.h"

#define PROXIMITY_TOO_CLOSE -85

static struct gus_report_data dist_data[NUM_PROXIMITY_REPORTS];
static int blinker = -1;

int get_blinker(void) 
{
    return blinker;
}

void set_blinker(int val) 
{
    blinker = val;
}

int dec_blinker(void) 
{
    return --blinker;
}


///////////////////// PROCEDURES


static void init_distance_data(void) {
        for (int i=0; i < NUM_PROXIMITY_REPORTS; ++i) {
                dist_data[i].addr = 0;
                dist_data[i].rssi = -127;
        }
}
static void add_distance_data(uint16_t addr, int8_t rssi, uint8_t rttl)
{
    if (rssi > PROXIMITY_TOO_CLOSE) {
        // check for duplicate addresses
        for (int i=0; i < NUM_PROXIMITY_REPORTS; ++i) {
            if (dist_data[i].addr == addr) {
                rssi = MAX(rssi, dist_data[i].rssi);
                dist_data[i].rssi = -127;
                break;
            }
        }
        // insert into array in order of rssi
        for (int i=0; i < NUM_PROXIMITY_REPORTS; ++i) {
            if (rssi > dist_data[i].rssi) {
                uint8_t ta = dist_data[i].addr;
                int8_t  tr = dist_data[i].rssi;
                dist_data[i].addr = addr;
                dist_data[i].rssi = rssi;
                addr = ta;
                rssi = tr;
            }
        }
    }
 }



#define RL 0b00010000
#define RR 0b00000010
#define GL 0b00100000
#define GR 0b00000100
#define BL 0b00001000
#define BR 0b00000001
#define YL 0b00110000
#define YR 0b00000110
#define BLACK 0b00000000


static void display_health(enum bt_mesh_gus_state state)
{
printk("health: %d state\n", state);
        set_blinker( state == BT_MESH_GUS_IDENTIFY ? 100 : -1);
	if (state != BT_MESH_GUS_IDENTIFY) 
        {	   
            switch((uint16_t)state) {
             case BT_MESH_GUS_HEALTHY:
                gus_set_leds(GL|GR);
            break;
            
            case BT_MESH_GUS_MASKED:
               gus_set_leds(GL|YR);
            break;
                          
            case BT_MESH_GUS_VACCINATED:
                gus_set_leds(BL|BR);
            break;

            case BT_MESH_GUS_VACCINATED_MASKED:
                gus_set_leds(BL|YR);
            break;

            case BT_MESH_GUS_INFECTED:
                gus_set_leds(RR|RL);
            break;

            case BT_MESH_GUS_VACCINATED_INFECTED:
                gus_set_leds(BL|RR);
            break;

            case BT_MESH_GUS_MASKED_INFECTED:
                gus_set_leds(YL|RR);
            break;               
                          
            case BT_MESH_GUS_VACCINATED_MASKED_INFECTED:
                gus_set_leds(YL|YR);
            break;  
                         
            case BT_MESH_GUS_OFF:
                gus_set_leds(BLACK);
            break;               
            }
        }
}


//////////////////////////////
//  Health server
//////////////////////////////

static void attention_on(struct bt_mesh_model *mod)
{
	set_blinker(81);
}

static void attention_off(struct bt_mesh_model *mod)
{
	set_blinker(0);
	dk_set_leds(DK_NO_LEDS_MSK);
}

static const struct bt_mesh_health_srv_cb health_srv_cb = {
	.attn_on = attention_on,
	.attn_off = attention_off,
};

static struct bt_mesh_health_srv health_srv = {
	.cb = &health_srv_cb,
};

BT_MESH_HEALTH_PUB_DEFINE(health_pub, 0);

// ******************************************************************************
// ***************************** GUS model setup *******************************
// ******************************************************************************

static void handle_gus_start(struct bt_mesh_gus *gus)
{
    init_distance_data();
}

static const uint8_t * spare_name(uint16_t addr)
{
    const uint8_t * spare_names[] = {
    "Anja",    "Birgit",    "Casper", "Dag", "Eirik", "Fritjof",
    "Gunvor",  "Hildur", "Ingolf", "Ingolf",  "Jorg", "Kjerstin",
    "Lisbet",  "Mikaela", "Niklas", "Oydis",  "Peder", "Ragnhild", };

#define SPARE_NAME_LEN (sizeof(spare_names)/ sizeof(char *))
    return spare_names[addr % SPARE_NAME_LEN];
}


static void handle_gus_signin(struct bt_mesh_gus *gus,
			       struct bt_mesh_msg_ctx *ctx,
                               uint16_t addr)
{
    const uint8_t * name = gus->name;
    size_t len = strlen(name);
    if (len < 1) {
        name = spare_name(addr);
        len = strlen(name);
    }
    printk("handle signin %d %s\n", addr, name);

    (void)bt_mesh_gus_svr_sign_in_reply(gus, ctx, name);
}

static void handle_gus_set_state(struct bt_mesh_gus *gus,
				 struct bt_mesh_msg_ctx *ctx,
				 enum bt_mesh_gus_state state)
{
    display_health(state);
}



static void handle_report_request(struct bt_mesh_gus *gus,
				 struct bt_mesh_msg_ctx *ctx)
{
    for (int i=0; i<NUM_PROXIMITY_REPORTS; i+=2) {
        printk("rr (%d %d) (%d %d)\n", 
                                        (int)dist_data[i+0].addr, (int)dist_data[i+0].rssi,
                                        (int)dist_data[i+1].addr, (int)dist_data[i+1].rssi);
    }
        // Send the report back to the teacher
        bt_mesh_gus_svr_report_reply(gus, ctx, (const uint8_t *) dist_data);

        // Publish the check proximity to all other badges
        bt_mesh_gus_svr_check_proximity(gus);
        init_distance_data();
}


static void handle_check_proximity(struct bt_mesh_gus *gus,
				 struct bt_mesh_msg_ctx *ctx,
                                 uint16_t addr)
{
        uint8_t rttl = ctx->recv_ttl;
        int8_t rssi = ctx->recv_rssi;

        printk("prox: addr %d rssi %d, ttl %d\n", addr, rssi, rttl);

        if (addr != ctx->addr) {
            add_distance_data(ctx->addr, rssi, rttl);
        }
//        for (int i=0; i<4; ++i)  printk("px: addr %d rssi %d\n", dist_data[i].addr, dist_data[i].rssi);
}



static const struct bt_mesh_gus_handlers gus_handlers = {
	.start = handle_gus_start,
	.sign_in = handle_gus_signin,
	.set_state = handle_gus_set_state,
        .report_request = handle_report_request,
        .check_proximity = handle_check_proximity,
};

static struct bt_mesh_gus gus = {
	.handlers = &gus_handlers,
};

static struct bt_mesh_elem elements[] = {
	BT_MESH_ELEM(
		1,
		BT_MESH_MODEL_LIST(
			BT_MESH_MODEL_CFG_SRV,
			BT_MESH_MODEL_HEALTH_SRV(&health_srv, &health_pub)),
		BT_MESH_MODEL_LIST(BT_MESH_MODEL_GUS_SVR(&gus))),
};

static const struct bt_mesh_comp comp = {
	.cid = CONFIG_BT_COMPANY_ID,
	.elem = elements,
	.elem_count = ARRAY_SIZE(elements),
};

static void button_handler_cb(uint32_t pressed, uint32_t changed)
{
    if (!bt_mesh_is_provisioned()) {
        return;
    }

    if ((pressed & changed & BIT(1))) {
        bt_mesh_reset();
        dk_set_leds(1);
    }
    else {
        dk_set_leds(2);
    }
}

const struct bt_mesh_comp *gus_model_handler_init(void)
{
	static struct button_handler button_handler = {
		.cb = button_handler_cb,
	};

	dk_button_handler_add(&button_handler);

	return &comp;
}
```

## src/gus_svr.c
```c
/*
 * Copyright (c) 2019 Nordic Semiconductor ASA
 *
 * SPDX-License-Identifier: LicenseRef-Nordic-5-Clause
 */

#include <bluetooth/mesh.h>
#include "gus_svr.h"
#include "mesh/net.h"
#include "mesh/transport.h"
#include <string.h>
#include <logging/log.h>
#include <drivers/gpio.h>

LOG_MODULE_DECLARE(gus);

// compiler check to verify buffer sizes
BUILD_ASSERT(BT_MESH_MODEL_BUF_LEN(BT_MESH_GUS_OP_SET_NAME,
								   CONFIG_BT_MESH_GUS_NAME_LENGTH) <=
				 BT_MESH_RX_SDU_MAX,
			 "The message must fit inside an application SDU.");
BUILD_ASSERT(BT_MESH_MODEL_BUF_LEN(BT_MESH_GUS_OP_SET_NAME,
								   CONFIG_BT_MESH_GUS_NAME_LENGTH) <=
				 BT_MESH_TX_SDU_MAX,
			 "The message must fit inside an application SDU.");
BUILD_ASSERT(BT_MESH_MODEL_BUF_LEN(BT_MESH_GUS_OP_REPORT_REPLY,
								   BT_MESH_GUS_MSG_LEN_REPORT_REPLY) <=
				 BT_MESH_RX_SDU_MAX,
			 "The report reply message must fit inside an application SDU.");
BUILD_ASSERT(BT_MESH_MODEL_BUF_LEN(BT_MESH_GUS_OP_REPORT_REPLY,
								   BT_MESH_GUS_MSG_LEN_REPORT_REPLY) <=
				 BT_MESH_TX_SDU_MAX,
			 "The report reply message must fit inside an application SDU.");

/////////////////////
// Static functions
/////////////////////

// extract the name from the message buffer
// buf: message buffer
static const uint8_t *extract_name(struct net_buf_simple *buf)
{
	buf->data[buf->len - 1] = '\0';
	return net_buf_simple_pull_mem(buf, buf->len);
}

////////////////////
// message handlers
///////////////////

static void handle_sign_in(struct bt_mesh_model *model,
						   struct bt_mesh_msg_ctx *ctx,
						   struct net_buf_simple *buf)
{

	struct bt_mesh_gus *gus = model->user_data;

	uint16_t addr = bt_mesh_model_elem(model)->addr;
	if (gus->handlers->sign_in)
	{
		gus->handlers->sign_in(gus, ctx, addr);
	}
}

static void handle_set_state(struct bt_mesh_model *model,
							 struct bt_mesh_msg_ctx *ctx,
							 struct net_buf_simple *buf)
{
	struct bt_mesh_gus *gus = model->user_data;
	enum bt_mesh_gus_state state;

	state = net_buf_simple_pull_u8(buf);

	if (gus->handlers->set_state)
	{
		gus->handlers->set_state(gus, ctx, state);
	}
}

static void handle_set_name(struct bt_mesh_model *model,
							struct bt_mesh_msg_ctx *ctx,
							struct net_buf_simple *buf)
{
	struct bt_mesh_gus *gus = model->user_data;
	const uint8_t *msg;

	msg = extract_name(buf);

	strncpy(gus->name, msg, CONFIG_BT_MESH_GUS_NAME_LENGTH);
	if (gus->handlers->set_name)
	{
		gus->handlers->set_name(gus, ctx, msg);
	}
}

static void handle_report_request(struct bt_mesh_model *model,
								  struct bt_mesh_msg_ctx *ctx,
								  struct net_buf_simple *buf)
{
	struct bt_mesh_gus *gus = model->user_data;

	if (gus->handlers->report_request)
	{
		gus->handlers->report_request(gus, ctx);
	}
}

static void handle_check_proximity(struct bt_mesh_model *model,
								   struct bt_mesh_msg_ctx *ctx,
								   struct net_buf_simple *buf)
{
	struct bt_mesh_gus *gus = model->user_data;
	uint16_t addr = bt_mesh_model_elem(model)->addr;

	if (gus->handlers->check_proximity)
	{
		gus->handlers->check_proximity(gus, ctx, addr);
	}
}

////////////////////
// message handler table
///////////////////

const struct bt_mesh_model_op _bt_mesh_gus_svr_op[] = {
	{BT_MESH_GUS_OP_SIGN_IN,
	 BT_MESH_GUS_MSG_LEN_REQUEST,
	 handle_sign_in},
	{BT_MESH_GUS_OP_SET_STATE,
	 BT_MESH_GUS_MSG_MINLEN_MESSAGE,
	 handle_set_state},
	{BT_MESH_GUS_OP_SET_NAME,
	 BT_MESH_GUS_MSG_MINLEN_MESSAGE,
	 handle_set_name},
	{BT_MESH_GUS_OP_REPORT,
	 BT_MESH_GUS_MSG_LEN_REQUEST,
	 handle_report_request},
	{BT_MESH_GUS_OP_CHECK_PROXIMITY,
	 BT_MESH_GUS_MSG_LEN_REQUEST,
	 handle_check_proximity},

	BT_MESH_MODEL_OP_END,
};

//todo

// static int bt_mesh_chat_cli_update_handler(struct bt_mesh_model *model)
// {
// struct bt_mesh_chat_cli *chat = model->user_data;

// /* Continue publishing current presence. */
// encode_presence(model->pub->msg, chat->presence);

// return 0;
// }

#ifdef CONFIG_BT_SETTINGS
static int bt_mesh_gus_cli_settings_set(struct bt_mesh_model *model,
										const char *name,
										size_t len_rd,
										settings_read_cb read_cb,
										void *cb_arg)
{
	struct bt_mesh_gus *gus = model->user_data;

	if (name)
	{
		return -ENOENT;
	}

	ssize_t bytes = read_cb(cb_arg, &gus->state,
							sizeof(gus->state));
	if (bytes < 0)
	{
		return bytes;
	}

	if (bytes != 0 && bytes != sizeof(gus->state))
	{
		return -EINVAL;
	}

	return 0;
}
#endif

static int bt_mesh_gus_svr_init(struct bt_mesh_model *model)
{
	struct bt_mesh_gus *gus = model->user_data;

	gus->model = model;

	net_buf_simple_init_with_data(&gus->pub_msg, gus->buf,
								  sizeof(gus->buf));

	gus->pub.msg = &gus->pub_msg;
	gus->pub.update = NULL; //bt_mesh_gus_cli_update_handler;

	return 0;
}

static int bt_mesh_gus_svr_start(struct bt_mesh_model *model)
{
	struct bt_mesh_gus *gus = model->user_data;

	if (gus->handlers->start)
	{
		gus->handlers->start(gus);
	}

	return 0;
}

static void bt_mesh_gus_svr_reset(struct bt_mesh_model *model)
{
	struct bt_mesh_gus *gus = model->user_data;

	gus->state = BT_MESH_GUS_HEALTHY;

	if (IS_ENABLED(CONFIG_BT_SETTINGS))
	{
		(void)bt_mesh_model_data_store(model, true, NULL, NULL, 0);
	}
}

const struct bt_mesh_model_cb _bt_mesh_gus_svr_cb = {
	.init = bt_mesh_gus_svr_init,
	.start = bt_mesh_gus_svr_start,
#ifdef CONFIG_BT_SETTINGS
	.settings_set = bt_mesh_gus_cli_settings_set,
#endif
	.reset = bt_mesh_gus_svr_reset,
};

/////////////////////////////
// public access functions
/////////////////////////////
int bt_mesh_gus_svr_sign_in_reply(struct bt_mesh_gus *gus,
								  struct bt_mesh_msg_ctx *ctx,
								  const uint8_t *name)
{
	BT_MESH_MODEL_BUF_DEFINE(msg, BT_MESH_GUS_OP_SIGN_IN_REPLY,
							 BT_MESH_GUS_MSG_LEN_SIGN_IN_REPLY);
	bt_mesh_model_msg_init(&msg, BT_MESH_GUS_OP_SIGN_IN_REPLY);

	size_t len = strlen(name);
	net_buf_simple_add_mem(&msg, name, len);
	net_buf_simple_add_u8(&msg, '\0');

	return bt_mesh_model_send(gus->model, ctx, &msg, NULL, NULL);
}

int bt_mesh_gus_svr_report_reply(struct bt_mesh_gus *gus,
								 struct bt_mesh_msg_ctx *ctx,
								 const uint8_t *report)
{
	BT_MESH_MODEL_BUF_DEFINE(msg, BT_MESH_GUS_OP_REPORT_REPLY,
							 BT_MESH_GUS_MSG_LEN_REPORT_REPLY);
	bt_mesh_model_msg_init(&msg, BT_MESH_GUS_OP_REPORT_REPLY);

	net_buf_simple_add_mem(&msg, report, BT_MESH_GUS_MSG_LEN_REPORT_REPLY);

	return bt_mesh_model_send(gus->model, ctx, &msg, NULL, NULL);
}

int bt_mesh_gus_svr_check_proximity(struct bt_mesh_gus *gus)
{
	//todo	set_tx_power(BT_HCI_VS_LL_HANDLE_TYPE_ADV, 0, -8);

	struct net_buf_simple *buf = gus->model->pub->msg;
	bt_mesh_model_msg_init(buf, BT_MESH_GUS_OP_CHECK_PROXIMITY);

	// set ttl no relays, only interested in direct connections.
	gus->model->pub->ttl = 0;
	gus->model->pub->send_rel = false;
	return bt_mesh_model_publish(gus->model);
}
```

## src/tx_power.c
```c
/*
 * Copyright (c) 2019 Nordic Semiconductor ASA
 *
 * SPDX-License-Identifier: LicenseRef-Nordic-5-Clause
 */

/////////////////////////////////////////////////////////////////////////
// This code was copied from the zephyr HCI example.
// It is currently not being used.  Changing power levels seems to work
// for everything except mesh communication.
// The goal was to reduce the power levels for the poximity checking
// operation to improve the ability to determine the distance between 
// nodes, however the default power levels seem sufficient to demo
// a proof of concept.
/////////////////////////////////////////////////////////////////////////

#include <bluetooth/bluetooth.h>
#include <bluetooth/mesh/models.h>
#include <bluetooth/mesh/dk_prov.h>
#include <dk_buttons_and_leds.h>
#include "gus_model_handler.h"

#include <bluetooth/hci.h>
#include <bluetooth/hci_vs.h>

#include <bluetooth/conn.h>
#include <bluetooth/uuid.h>
#include <bluetooth/gatt.h>
#include <sys/byteorder.h>

//static const int8_t txp[] = {4, 0, -3, -8, -15, -18, -23, -30};

void set_tx_power(uint8_t handle_type, uint16_t handle, int8_t tx_pwr_lvl)
{
	struct bt_hci_cp_vs_write_tx_power_level *cp;
	struct bt_hci_rp_vs_write_tx_power_level *rp;
	struct net_buf *buf, *rsp = NULL;
	int err;

	buf = bt_hci_cmd_create(BT_HCI_OP_VS_WRITE_TX_POWER_LEVEL,
				sizeof(*cp));
	if (!buf) {
		printk("Unable to allocate command buffer\n");
		return;
	}

	cp = net_buf_add(buf, sizeof(*cp));
	cp->handle = sys_cpu_to_le16(handle);
	cp->handle_type = handle_type;
	cp->tx_power_level = tx_pwr_lvl;

	err = bt_hci_cmd_send_sync(BT_HCI_OP_VS_WRITE_TX_POWER_LEVEL,
				   buf, &rsp);
	if (err) {
		uint8_t reason = rsp ?
			((struct bt_hci_rp_vs_write_tx_power_level *)
			  rsp->data)->status : 0;
		printk("Set Tx power err: %d reason 0x%02x\n", err, reason);
		return;
	}

	rp = (void *)rsp->data;
	printk("Actual Tx Power: %d\n", rp->selected_tx_power);

	net_buf_unref(rsp);
}
```
